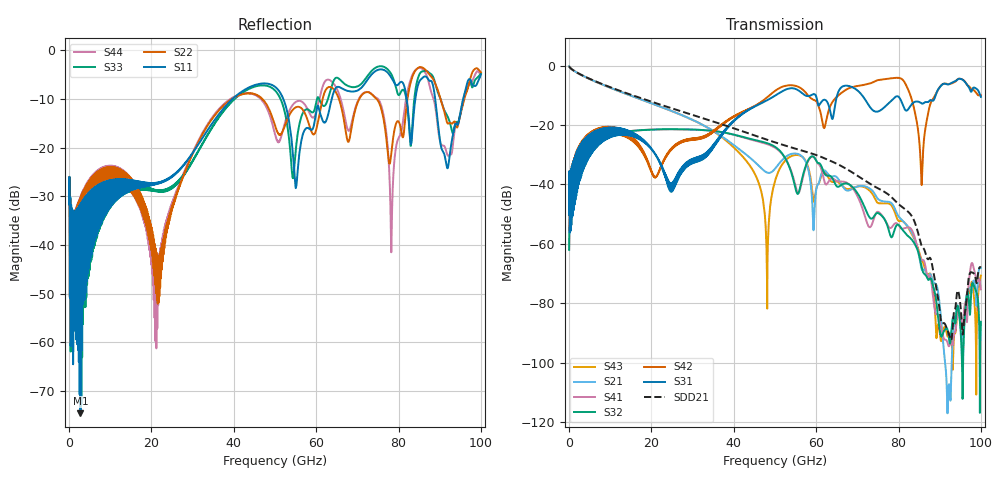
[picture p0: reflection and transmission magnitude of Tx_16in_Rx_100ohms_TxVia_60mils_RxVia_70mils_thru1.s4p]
! Info: Touchstone file created by Circ.  Input file=Tx_16in_Rx_100ohms_TxVia_60mils_RxVia_70mils.circ
# Hz S RI R 50
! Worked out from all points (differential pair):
!   10000 points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, 10 MHz to 100 GHz, reference 50 ohm
!   strongest paths, dB at 10 MHz, 25.01 GHz, 50.01 GHz, 75.01 GHz, 100 GHz:
!     S31: -50.2, -42.2, -10.1, -15.5, -10.5
!     S42: -50.2, -27.7, -8.5, -4.9, -10.0
!     S32: -62.0, -21.4, -27.3, -49.6, -86.2
!     S41: -62.0, -21.4, -27.6, -49.2, -75.3
!     S21: -0.2, -15.3, -34.7, -44.9, -68.1
!     S43: -0.2, -15.3, -38.8, -46.2, -70.7
!   taken as a pair (ports 1,3 in; 2,4 out), SDD21 dB: -0.2, -14.4, -25.8, -41.3, -67.9
!   lowest |S11| = -74.5 dB at 2.77 GHz (marker M1), VSWR 1.00, Z = 50 - j0.00287 ohm
!   |S11| at or under -10 dB: start of sweep to 39.7 GHz; 52.02 GHz to 63.78 GHz (11.76 GHz wide, 20.3 % of centre); 88.91 GHz to 95.7 GHz (6.795 GHz wide, 7.36 % of centre) (the widest 3 of 4)
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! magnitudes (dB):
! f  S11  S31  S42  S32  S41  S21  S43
! 10 MHz  -31.6  -50.2  -50.2  -62.0  -62.0  -0.2  -0.2
! 2.77 GHz  -74.5  -36.5  -33.6  -29.5  -29.5  -3.0  -3.0
! 21.21 GHz  -27.3  -30.6  -37.3  -21.5  -21.5  -13.3  -13.3
! 48.06 GHz  -6.8  -11.6  -10.7  -26.1  -26.4  -36.0  -72.0
! 59.21 GHz  -16.0  -9.7  -11.5  -30.6  -30.7  -51.1  -44.2
! 78.28 GHz  -5.6  -11.8  -4.3  -57.8  -54.5  -46.3  -47.1
! 100 GHz  -5.0  -10.5  -10.0  -86.2  -75.3  -68.1  -70.7
